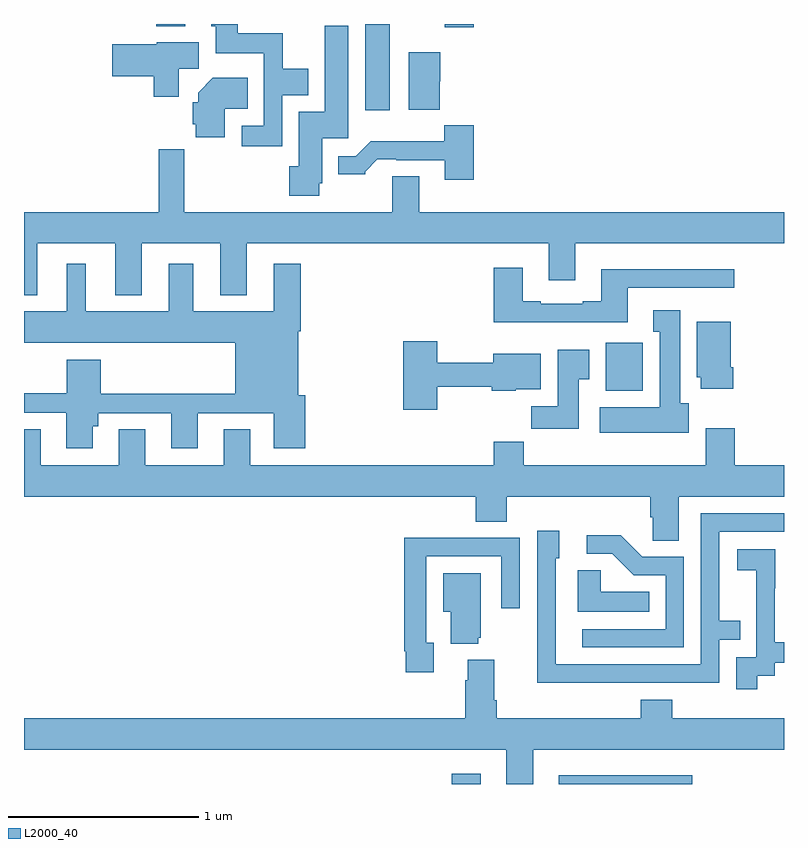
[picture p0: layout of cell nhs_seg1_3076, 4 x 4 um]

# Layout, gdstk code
import gdstk
lib = gdstk.Library(unit=1e-6, precision=1e-09)
def R(c, l, rs):  # rectangles x0, y0, x1, y1
    for r in rs: c.add(gdstk.rectangle(r[:2], r[2:], *l))
def P(c, l, *ps):  # polygons
    for p in ps: c.add(gdstk.Polygon(p, *l))
L2000_40 = (2000, 40)

nhs_seg1_3076 = lib.new_cell('nhs_seg1_3076')
R(nhs_seg1_3076, L2000_40, [(279.251,570.199,279.403,570.253), (279.815,570.199,280.516,570.244), (280.061,572.27,280.257,572.521), (278.795,573.744,278.926,574.199), (279.215,574.182,279.368,574.199), (277.697,574.187,277.849,574.199)])
P(nhs_seg1_3076, L2000_40, [(278.358,573.824),(278.497,573.824),(278.497,573.964),(278.361,573.964),(278.361,574.15),(278.125,574.15),(278.125,574.199),(277.985,574.199),(277.985,574.188),(278.009,574.188),(278.009,574.046),(278.262,574.046),(278.262,573.663),(278.145,573.663),(278.145,573.555),(278.358,573.555)],
  [(278.553,573.36),(278.569,573.36),(278.569,573.597),(278.707,573.597),(278.707,574.189),(278.582,574.189),(278.582,573.736),(278.447,573.736),(278.447,573.45),(278.396,573.45),(278.396,573.294),(278.553,573.294)],
  [(277.814,573.964),(277.921,573.964),(277.921,574.102),(277.698,574.102),(277.698,574.093),(277.464,574.093),(277.464,573.923),(277.682,573.923),(277.682,573.816),(277.814,573.816)],
  [(279.188,573.897),(279.19,573.897),(279.19,574.051),(279.026,574.051),(279.026,573.749),(279.188,573.749)],
  [(278.056,573.752),(278.177,573.752),(278.177,573.916),(277.994,573.916),(277.916,573.838),(277.916,573.786),(277.889,573.786),(277.889,573.672),(277.904,573.672),(277.904,573.602),(278.056,573.602)],
  [(279.368,573.667),(279.213,573.667),(279.213,573.583),(278.824,573.583),(278.745,573.504),(278.654,573.504),(278.654,573.407),(278.796,573.407),(278.796,573.422),(278.86,573.486),(278.959,573.486),(278.959,573.483),(279.215,573.483),(279.215,573.378),(279.368,573.378)],
  [(277.069,573.044),(277.481,573.044),(277.481,572.771),(277.621,572.771),(277.621,573.044),(278.033,573.044),(278.033,572.771),(278.173,572.771),(278.173,573.044),(279.761,573.044),(279.761,572.85),(279.901,572.85),(279.901,573.044),(281,573.044),(281,573.208),(279.079,573.208),(279.079,573.398),(278.939,573.398),(278.939,573.208),(277.844,573.208),(277.844,573.541),(277.708,573.541),(277.708,573.208),(277,573.208),(277,572.771),(277.069,572.771)],
  [(277.363,572.082),(277.39,572.082),(277.39,572.151),(277.775,572.151),(277.775,571.965),(277.915,571.965),(277.915,572.151),(278.315,572.151),(278.315,571.965),(278.48,571.965),(278.48,572.244),(278.443,572.244),(278.443,572.582),(278.456,572.582),(278.456,572.938),(278.315,572.938),(278.315,572.686),(277.891,572.686),(277.891,572.938),(277.763,572.938),(277.763,572.686),(277.324,572.686),(277.324,572.938),(277.226,572.938),(277.226,572.686),(277,572.686),(277,572.522),(278.111,572.522),(278.111,572.252),(277.403,572.252),(277.403,572.431),(277.225,572.431),(277.225,572.255),(277,572.255),(277,572.154),(277.223,572.154),(277.223,571.965),(277.363,571.965)],
  [(280.177,572.811),(280.738,572.811),(280.738,572.908),(280.037,572.908),(280.037,572.74),(279.941,572.74),(279.941,572.727),(279.721,572.727),(279.721,572.74),(279.625,572.74),(279.625,572.917),(279.473,572.917),(279.473,572.63),(280.177,572.63)],
  [(280.498,572.202),(280.453,572.202),(280.453,572.692),(280.313,572.692),(280.313,572.579),(280.346,572.579),(280.346,572.182),(280.029,572.182),(280.029,572.048),(280.498,572.048)],
  [(280.733,572.392),(280.72,572.392),(280.72,572.632),(280.541,572.632),(280.541,572.34),(280.562,572.34),(280.562,572.28),(280.733,572.28)],
  [(279.174,572.289),(279.463,572.289),(279.463,572.27),(279.588,572.27),(279.588,572.276),(279.721,572.276),(279.721,572.464),(279.47,572.464),(279.47,572.417),(279.174,572.417),(279.174,572.53),(278.996,572.53),(278.996,572.169),(279.174,572.169)],
  [(279.919,572.329),(279.976,572.329),(279.976,572.485),(279.809,572.485),(279.809,572.188),(279.67,572.188),(279.67,572.07),(279.919,572.07)],
  [(280.447,571.712),(281,571.712),(281,571.876),(280.742,571.876),(280.742,572.071),(280.589,572.071),(280.589,571.876),(279.629,571.876),(279.629,572),(279.473,572),(279.473,571.876),(278.191,571.876),(278.191,572.066),(278.051,572.066),(278.051,571.876),(277.639,571.876),(277.639,572.066),(277.499,572.066),(277.499,571.876),(277.087,571.876),(277.087,572.066),(277,572.066),(277,571.712),(279.377,571.712),(279.377,571.579),(279.542,571.579),(279.542,571.712),(280.295,571.712),(280.295,571.603),(280.308,571.603),(280.308,571.48),(280.447,571.48)],
  [(280.163,570.732),(280.659,570.732),(280.659,570.957),(280.769,570.957),(280.769,571.058),(280.659,571.058),(280.659,571.527),(281,571.527),(281,571.623),(280.563,571.623),(280.563,570.828),(279.798,570.828),(279.798,571.386),(279.817,571.386),(279.817,571.531),(279.702,571.531),(279.702,571.037),(279.7,571.037),(279.7,570.731),(280.163,570.731)],
  [(280.473,571.395),(280.254,571.395),(280.141,571.508),(279.963,571.508),(279.963,571.41),(280.097,571.41),(280.208,571.299),(280.377,571.299),(280.377,571.014),(279.939,571.014),(279.939,570.918),(280.473,570.918)],
  [(279.157,570.942),(279.117,570.942),(279.117,571.398),(279.513,571.398),(279.513,571.125),(279.609,571.125),(279.609,571.494),(279.293,571.494),(279.293,571.496),(279.001,571.496),(279.001,570.898),(279.009,570.898),(279.009,570.786),(279.157,570.786)],
  [(280.858,570.769),(280.95,570.769),(280.95,570.837),(281,570.837),(281,570.946),(280.952,570.946),(280.952,571.229),(280.953,571.229),(280.953,571.435),(280.755,571.435),(280.755,571.325),(280.853,571.325),(280.853,571.097),(280.854,571.097),(280.854,570.867),(280.749,570.867),(280.749,570.699),(280.858,570.699)],
  [(280.292,571.21),(280.035,571.21),(280.035,571.325),(279.914,571.325),(279.914,571.106),(280.292,571.106)],
  [(279.392,570.969),(279.403,570.969),(279.403,571.309),(279.206,571.309),(279.206,571.106),(279.245,571.106),(279.245,570.938),(279.392,570.938)],
  [(279.679,570.38),(281,570.38),(281,570.544),(280.412,570.544),(280.412,570.643),(280.247,570.643),(280.247,570.544),(279.488,570.544),(279.488,570.64),(279.475,570.64),(279.475,570.853),(279.335,570.853),(279.335,570.746),(279.323,570.746),(279.323,570.544),(277,570.544),(277,570.38),(279.539,570.38),(279.539,570.199),(279.679,570.199)])

lib.write_gds('nhs_seg1_3076.gds')
